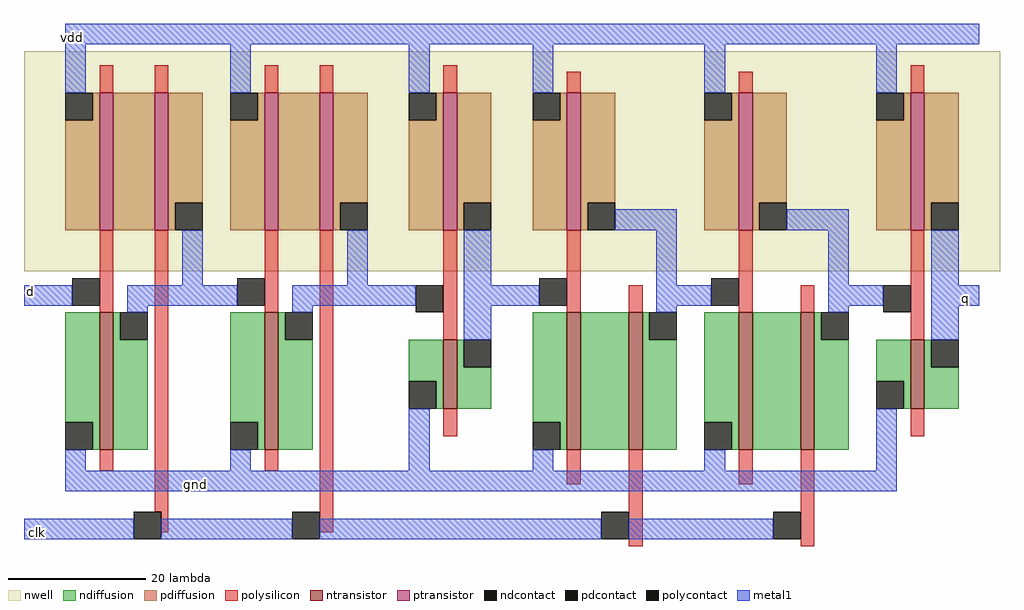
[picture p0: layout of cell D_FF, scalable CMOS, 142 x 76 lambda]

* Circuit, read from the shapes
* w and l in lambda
.subckt D_FF clk d gnd q vdd
M1 n1 d gnd VSUBS nfet w=20 l=2
M2 n2 n1 gnd VSUBS nfet w=20 l=2
M3 n3 n2 gnd VSUBS nfet w=10 l=2
M4 n4 n3 gnd VSUBS nfet w=20 l=2
M5 n5 clk n4 VSUBS nfet w=20 l=2
M6 n6 n5 gnd VSUBS nfet w=20 l=2
M7 n7 clk n6 VSUBS nfet w=20 l=2
M8 q n7 gnd VSUBS nfet w=10 l=2
M9 n8 d vdd n9 pfet w=20 l=2
M10 n1 clk n8 n9 pfet w=20 l=2
M11 n10 n1 vdd n9 pfet w=20 l=2
M12 n2 clk n10 n9 pfet w=20 l=2
M13 n3 n2 vdd n9 pfet w=20 l=2
M14 n5 n3 vdd n9 pfet w=20 l=2
M15 n7 n5 vdd n9 pfet w=20 l=2
M16 q n7 vdd n9 pfet w=20 l=2
.ends

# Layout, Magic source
magic
tech scmos
<< nwell >>
rect 110 2 252 34
<< ntransistor >>
rect 121 -24 123 -4
rect 145 -24 147 -4
rect 171 -18 173 -8
rect 189 -24 191 -4
rect 198 -24 200 -4
rect 214 -24 216 -4
rect 223 -24 225 -4
rect 239 -18 241 -8
<< ptransistor >>
rect 121 8 123 28
rect 129 8 131 28
rect 145 8 147 28
rect 153 8 155 28
rect 171 8 173 28
rect 189 8 191 28
rect 214 8 216 28
rect 239 8 241 28
<< ndiffusion >>
rect 116 -20 121 -4
rect 120 -24 121 -20
rect 123 -8 124 -4
rect 123 -24 128 -8
rect 140 -20 145 -4
rect 144 -24 145 -20
rect 147 -8 148 -4
rect 147 -24 152 -8
rect 166 -14 171 -8
rect 170 -18 171 -14
rect 173 -12 174 -8
rect 173 -18 178 -12
rect 184 -20 189 -4
rect 188 -24 189 -20
rect 191 -24 198 -4
rect 200 -8 201 -4
rect 200 -24 205 -8
rect 209 -20 214 -4
rect 213 -24 214 -20
rect 216 -24 223 -4
rect 225 -8 226 -4
rect 225 -24 230 -8
rect 234 -14 239 -8
rect 238 -18 239 -14
rect 241 -12 242 -8
rect 241 -18 246 -12
<< pdiffusion >>
rect 120 24 121 28
rect 116 8 121 24
rect 123 8 129 28
rect 131 12 136 28
rect 131 8 132 12
rect 144 24 145 28
rect 140 8 145 24
rect 147 8 153 28
rect 155 12 160 28
rect 155 8 156 12
rect 170 24 171 28
rect 166 8 171 24
rect 173 12 178 28
rect 173 8 174 12
rect 188 24 189 28
rect 184 8 189 24
rect 191 12 196 28
rect 191 8 192 12
rect 213 24 214 28
rect 209 8 214 24
rect 216 12 221 28
rect 216 8 217 12
rect 238 24 239 28
rect 234 8 239 24
rect 241 12 246 28
rect 241 8 242 12
<< ndcontact >>
rect 116 -24 120 -20
rect 124 -8 128 -4
rect 140 -24 144 -20
rect 148 -8 152 -4
rect 166 -18 170 -14
rect 174 -12 178 -8
rect 184 -24 188 -20
rect 201 -8 205 -4
rect 209 -24 213 -20
rect 226 -8 230 -4
rect 234 -18 238 -14
rect 242 -12 246 -8
<< pdcontact >>
rect 116 24 120 28
rect 132 8 136 12
rect 140 24 144 28
rect 156 8 160 12
rect 166 24 170 28
rect 174 8 178 12
rect 184 24 188 28
rect 192 8 196 12
rect 209 24 213 28
rect 217 8 221 12
rect 234 24 238 28
rect 242 8 246 12
<< polysilicon >>
rect 121 28 123 32
rect 129 28 131 32
rect 145 28 147 32
rect 153 28 155 32
rect 171 28 173 32
rect 189 28 191 31
rect 214 28 216 31
rect 239 28 241 32
rect 121 -4 123 8
rect 121 -27 123 -24
rect 129 -33 131 8
rect 145 -4 147 8
rect 145 -27 147 -24
rect 130 -36 131 -33
rect 153 -36 155 8
rect 171 -8 173 8
rect 189 -4 191 8
rect 198 -4 200 0
rect 214 -4 216 8
rect 223 -4 225 0
rect 171 -22 173 -18
rect 239 -8 241 8
rect 239 -22 241 -18
rect 189 -29 191 -24
rect 198 -38 200 -24
rect 214 -29 216 -24
rect 223 -38 225 -24
<< polycontact >>
rect 117 -3 121 1
rect 141 -3 145 1
rect 126 -37 130 -33
rect 149 -37 153 -33
rect 167 -4 171 0
rect 185 -3 189 1
rect 210 -3 214 1
rect 235 -4 239 0
rect 194 -37 198 -33
rect 219 -37 223 -33
<< metal1 >>
rect 116 35 249 38
rect 116 28 119 35
rect 140 28 143 35
rect 166 28 169 35
rect 184 28 187 35
rect 209 28 212 35
rect 234 28 237 35
rect 110 -3 117 0
rect 133 0 136 8
rect 125 -3 141 0
rect 157 0 160 8
rect 196 8 205 11
rect 221 8 230 11
rect 174 0 178 8
rect 149 -3 167 0
rect 125 -4 128 -3
rect 149 -4 152 -3
rect 174 -3 185 0
rect 202 0 205 8
rect 202 -3 210 0
rect 227 0 230 8
rect 242 0 246 8
rect 227 -3 235 0
rect 174 -8 178 -3
rect 202 -4 205 -3
rect 227 -4 230 -3
rect 242 -3 249 0
rect 242 -8 246 -3
rect 116 -27 119 -24
rect 140 -27 143 -24
rect 166 -27 169 -18
rect 184 -27 187 -24
rect 209 -27 212 -24
rect 234 -27 237 -18
rect 116 -30 237 -27
rect 110 -37 126 -34
rect 130 -37 149 -34
rect 153 -37 194 -34
rect 198 -37 219 -34
<< labels >>
rlabel metal1 111 -1 111 -1 1 d
rlabel metal1 117 36 117 36 5 vdd
rlabel metal1 112 -36 112 -36 1 clk
rlabel metal1 135 -29 135 -29 1 gnd
rlabel metal1 247 -2 247 -2 7 q
<< end >>
